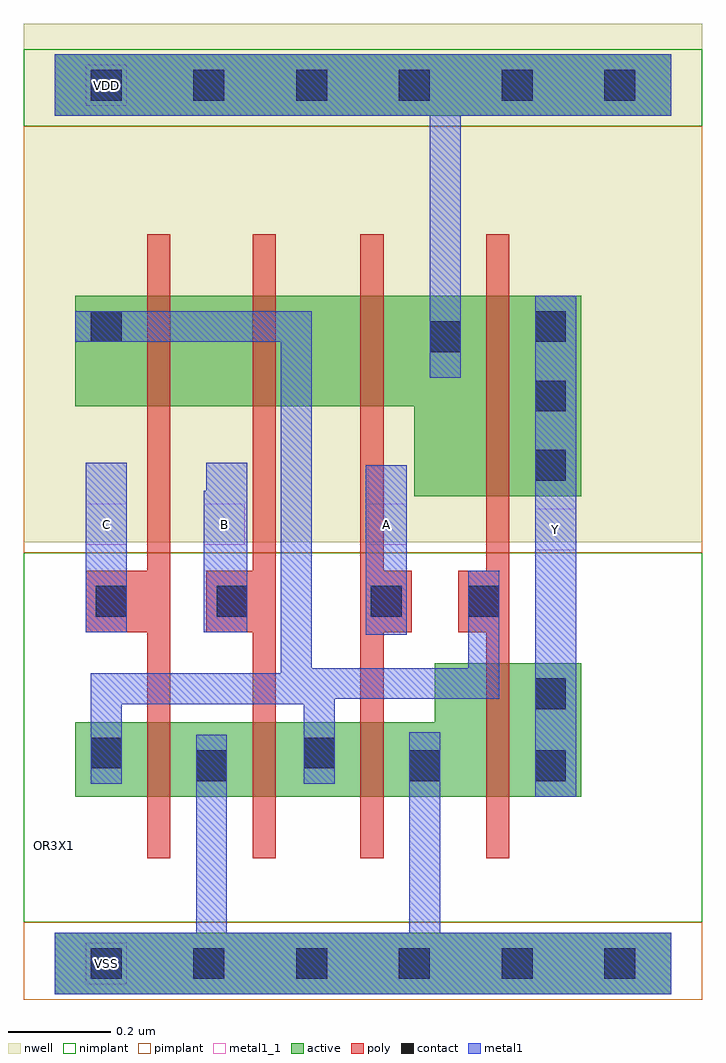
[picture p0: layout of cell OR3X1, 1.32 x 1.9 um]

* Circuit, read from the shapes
.subckt OR3X1 A B C VDD VSS Y
M1 VSS C n1 VSS nfet w=0.145u l=0.045u
M2 n1 B VSS VSS nfet w=0.145u l=0.045u
M3 VSS A n1 VSS nfet w=0.145u l=0.045u
M4 Y n1 VSS VSS nfet w=0.26u l=0.045u
M5 n2 C n1 VDD pfet w=0.215u l=0.045u
M6 n3 B n2 VDD pfet w=0.215u l=0.045u
M7 VDD A n3 VDD pfet w=0.215u l=0.045u
M8 Y n1 VDD VDD pfet w=0.39u l=0.045u
.ends

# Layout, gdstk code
import gdstk
lib = gdstk.Library(unit=1e-6, precision=5e-10)
def R(c, l, rs):  # rectangles x0, y0, x1, y1
    for r in rs: c.add(gdstk.rectangle(r[:2], r[2:], *l))
def A(c, l, x, y, w, h, nx, ny, dx, dy):  # array of equal rectangles
    R(c, l, [(x+i*dx, y+j*dy, x+i*dx+w, y+j*dy+h) for i in range(nx) for j in range(ny)])
def P(c, l, *ps):  # polygons
    for p in ps: c.add(gdstk.Polygon(p, *l))
active = (1, 0)
nwell = (2, 0)
poly = (3, 0)
nimplant = (4, 0)
pimplant = (5, 0)
contact = (6, 0)
metal1 = (7, 0)
metal1_1 = (7, 1)

or3x1 = lib.new_cell('OR3X1')
R(or3x1, active, [(0,-0.06,1.2,0.06), (0,1.65,1.2,1.77)])
P(or3x1, active, [(0.04,1.3),(1.025,1.3),(1.025,0.91),(0.7,0.91),(0.7,1.085),(0.04,1.085)],
  [(0.74,0.585),(1.025,0.585),(1.025,0.325),(0.04,0.325),(0.04,0.47),(0.74,0.47)])
R(or3x1, nwell, [(-0.06,0.82,1.26,1.83)])
P(or3x1, poly, [(0.84,1.42),(0.885,1.42),(0.885,0.205),(0.84,0.205),(0.84,0.645),(0.785,0.645),(0.785,0.765),(0.84,0.765)],
  [(0.18,1.42),(0.225,1.42),(0.225,0.205),(0.18,0.205),(0.18,0.645),(0.06,0.645),(0.06,0.765),(0.18,0.765)],
  [(0.385,1.42),(0.43,1.42),(0.43,0.205),(0.385,0.205),(0.385,0.645),(0.295,0.645),(0.295,0.765),(0.385,0.765)],
  [(0.595,1.42),(0.64,1.42),(0.64,0.765),(0.695,0.765),(0.695,0.645),(0.64,0.645),(0.64,0.205),(0.595,0.205)])
R(or3x1, nimplant, [(-0.06,0.08,1.26,0.8), (-0.06,1.63,1.26,1.78)])
R(or3x1, pimplant, [(-0.06,-0.07,1.26,0.08), (-0.06,0.8,1.26,1.63)])
A(or3x1, contact, 0.07, -0.03, 0.06, 0.06, 6, 2, 0.2, 1.71)
A(or3x1, contact, 0.935, 0.94, 0.06, 0.06, 1, 3, 0, 0.135)
R(or3x1, contact, [(0.275,0.355,0.335,0.415), (0.69,0.355,0.75,0.415), (0.935,0.355,0.995,0.415), (0.07,0.38,0.13,0.44), (0.485,0.38,0.545,0.44), (0.935,0.495,0.995,0.555), (0.08,0.675,0.14,0.735), (0.315,0.675,0.375,0.735), (0.615,0.675,0.675,0.735), (0.805,0.675,0.865,0.735), (0.73,1.19,0.79,1.25), (0.07,1.21,0.13,1.27)])
R(or3x1, metal1, [(0.935,0.325,1.015,1.3), (0.605,0.64,0.685,0.97), (0.06,0.645,0.14,0.975)])
P(or3x1, metal1, [(0.275,0.445),(0.335,0.445),(0.335,0.06),(0.69,0.06),(0.69,0.45),(0.75,0.45),(0.75,0.06),(1.2,0.06),(1.2,-0.06),(0,-0.06),(0,0.06),(0.275,0.06)],
  [(0,1.77),(1.2,1.77),(1.2,1.65),(0.79,1.65),(0.79,1.14),(0.73,1.14),(0.73,1.65),(0,1.65)],
  [(0.04,1.27),(0.5,1.27),(0.5,0.575),(0.805,0.575),(0.805,0.765),(0.865,0.765),(0.865,0.515),(0.545,0.515),(0.545,0.35),(0.485,0.35),(0.485,0.505),(0.13,0.505),(0.13,0.35),(0.07,0.35),(0.07,0.565),(0.44,0.565),(0.44,1.21),(0.04,1.21)],
  [(0.295,0.975),(0.375,0.975),(0.375,0.645),(0.29,0.645),(0.29,0.92),(0.295,0.92)])
A(or3x1, metal1_1, 0.06, -0.04, 0.08, 0.08, 1, 3, 0, 0.855)
R(or3x1, metal1_1, [(0.935,0.805,1.015,0.885), (0.29,0.815,0.37,0.895), (0.605,0.815,0.685,0.895)])
or3x1.add(gdstk.Label('A', (0.645,0.855), layer=7, texttype=1))
or3x1.add(gdstk.Label('VSS', (0.1,0), layer=7, texttype=1))
or3x1.add(gdstk.Label('Y', (0.975,0.845), layer=7, texttype=1))
or3x1.add(gdstk.Label('B', (0.33,0.855), layer=7, texttype=1))
or3x1.add(gdstk.Label('C', (0.1,0.855), layer=7, texttype=1))
or3x1.add(gdstk.Label('VDD', (0.1,1.71), layer=7, texttype=1))
or3x1.add(gdstk.Label('OR3X1', (0,0.23), layer=63, texttype=0))

lib.write_gds('OR3X1.gds')
